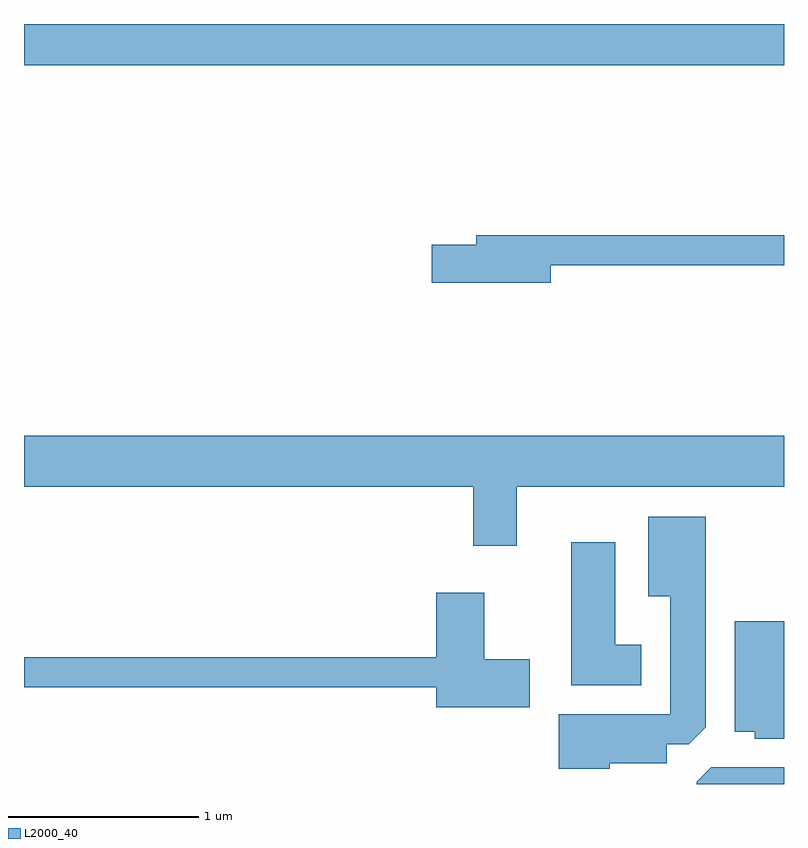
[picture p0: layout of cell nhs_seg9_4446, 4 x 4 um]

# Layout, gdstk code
import gdstk
lib = gdstk.Library(unit=1e-6, precision=1e-09)
def R(c, l, rs):  # rectangles x0, y0, x1, y1
    for r in rs: c.add(gdstk.rectangle(r[:2], r[2:], *l))
def P(c, l, *ps):  # polygons
    for p in ps: c.add(gdstk.Polygon(p, *l))
L2000_40 = (2000, 40)

nhs_seg9_4446 = lib.new_cell('nhs_seg9_4446')
R(nhs_seg9_4446, L2000_40, [(315.611,2036.216,319.611,2036.432)])
P(nhs_seg9_4446, L2000_40, [(318.384,2035.161),(319.611,2035.161),(319.611,2035.319),(317.991,2035.319),(317.991,2035.269),(317.756,2035.269),(317.756,2035.071),(318.384,2035.071)],
  [(318.204,2033.996),(319.611,2033.996),(319.611,2034.264),(315.611,2034.264),(315.611,2033.996),(317.976,2033.996),(317.976,2033.686),(318.204,2033.686)],
  [(318.694,2032.541),(318.994,2032.541),(318.994,2032.641),(319.109,2032.641),(319.199,2032.732),(319.199,2033.839),(318.896,2033.839),(318.896,2033.421),(319.011,2033.421),(319.011,2032.799),(318.426,2032.799),(318.426,2032.511),(318.694,2032.511)],
  [(318.859,2033.164),(318.724,2033.164),(318.724,2033.704),(318.491,2033.704),(318.491,2032.951),(318.859,2032.951)],
  [(318.274,2033.089),(318.034,2033.089),(318.034,2033.439),(317.781,2033.439),(317.781,2033.099),(315.611,2033.099),(315.611,2032.941),(317.781,2032.941),(317.781,2032.836),(318.274,2032.836)],
  [(319.611,2033.289),(319.351,2033.289),(319.351,2032.706),(319.456,2032.706),(319.456,2032.671),(319.611,2032.671)],
  [(319.611,2032.519),(319.227,2032.519),(319.151,2032.444),(319.151,2032.432),(319.611,2032.432)])

lib.write_gds('nhs_seg9_4446.gds')
